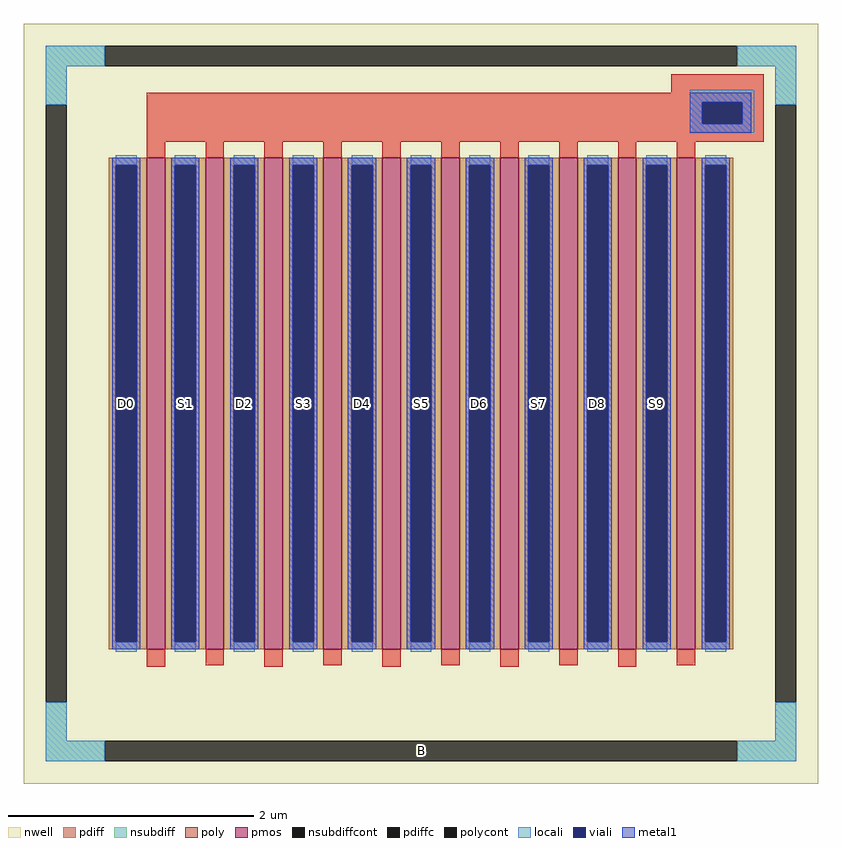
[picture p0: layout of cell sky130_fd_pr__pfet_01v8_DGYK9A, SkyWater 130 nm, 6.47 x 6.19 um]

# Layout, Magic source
magic
tech sky130A
magscale 1 2
<< nwell >>
rect -647 -619 647 619
<< pmos >>
rect -447 -400 -417 400
rect -351 -400 -321 400
rect -255 -400 -225 400
rect -159 -400 -129 400
rect -63 -400 -33 400
rect 33 -400 63 400
rect 129 -400 159 400
rect 225 -400 255 400
rect 321 -400 351 400
rect 417 -400 447 400
<< pdiff >>
rect -509 388 -447 400
rect -509 -388 -497 388
rect -463 -388 -447 388
rect -509 -400 -447 -388
rect -417 388 -351 400
rect -417 -388 -401 388
rect -367 -388 -351 388
rect -417 -400 -351 -388
rect -321 388 -255 400
rect -321 -388 -305 388
rect -271 -388 -255 388
rect -321 -400 -255 -388
rect -225 388 -159 400
rect -225 -388 -209 388
rect -175 -388 -159 388
rect -225 -400 -159 -388
rect -129 388 -63 400
rect -129 -388 -113 388
rect -79 -388 -63 388
rect -129 -400 -63 -388
rect -33 388 33 400
rect -33 -388 -17 388
rect 17 -388 33 388
rect -33 -400 33 -388
rect 63 388 129 400
rect 63 -388 79 388
rect 113 -388 129 388
rect 63 -400 129 -388
rect 159 388 225 400
rect 159 -388 175 388
rect 209 -388 225 388
rect 159 -400 225 -388
rect 255 388 321 400
rect 255 -388 271 388
rect 305 -388 321 388
rect 255 -400 321 -388
rect 351 388 417 400
rect 351 -388 367 388
rect 401 -388 417 388
rect 351 -400 417 -388
rect 447 388 509 400
rect 447 -388 463 388
rect 497 -388 509 388
rect 447 -400 509 -388
<< pdiffc >>
rect -497 -388 -463 388
rect -401 -388 -367 388
rect -305 -388 -271 388
rect -209 -388 -175 388
rect -113 -388 -79 388
rect -17 -388 17 388
rect 79 -388 113 388
rect 175 -388 209 388
rect 271 -388 305 388
rect 367 -388 401 388
rect 463 -388 497 388
<< nsubdiff >>
rect -611 549 -515 583
rect 515 549 611 583
rect -611 487 -577 549
rect 577 487 611 549
rect -611 -549 -577 -487
rect 577 -549 611 -487
rect -611 -583 -515 -549
rect 515 -583 611 -549
<< nsubdiffcont >>
rect -515 549 515 583
rect -611 -487 -577 487
rect 577 -487 611 487
rect -515 -583 515 -549
<< poly >>
rect 408 506 558 536
rect -447 491 558 506
rect -447 456 458 491
rect 523 456 558 491
rect -447 426 558 456
rect -447 400 -417 426
rect -351 400 -321 426
rect -255 400 -225 426
rect -159 400 -129 426
rect -63 400 -33 426
rect 33 400 63 426
rect 129 400 159 426
rect 225 400 255 426
rect 321 400 351 426
rect 417 400 447 426
rect -447 -429 -417 -400
rect -351 -426 -321 -400
rect -255 -429 -225 -400
rect -159 -426 -129 -400
rect -63 -429 -33 -400
rect 33 -426 63 -400
rect 129 -429 159 -400
rect 225 -426 255 -400
rect 321 -429 351 -400
rect 417 -426 447 -400
<< polycont >>
rect 458 456 523 491
<< locali >>
rect -611 549 -515 583
rect 515 549 611 583
rect -611 487 -577 549
rect 438 491 543 511
rect 438 456 458 491
rect 523 456 543 491
rect 438 441 543 456
rect 577 487 611 549
rect -497 388 -463 404
rect -497 -404 -463 -388
rect -401 388 -367 404
rect -401 -404 -367 -388
rect -305 388 -271 404
rect -305 -404 -271 -388
rect -209 388 -175 404
rect -209 -404 -175 -388
rect -113 388 -79 404
rect -113 -404 -79 -388
rect -17 388 17 404
rect -17 -404 17 -388
rect 79 388 113 404
rect 79 -404 113 -388
rect 175 388 209 404
rect 175 -404 209 -388
rect 271 388 305 404
rect 271 -404 305 -388
rect 367 388 401 404
rect 367 -404 401 -388
rect 463 388 497 404
rect 463 -404 497 -388
rect -611 -549 -577 -487
rect 577 -549 611 -487
rect -611 -583 -515 -549
rect 515 -583 611 -549
<< viali >>
rect 458 456 523 491
rect -497 -388 -463 388
rect -401 -388 -367 388
rect -305 -388 -271 388
rect -209 -388 -175 388
rect -113 -388 -79 388
rect -17 -388 17 388
rect 79 -388 113 388
rect 175 -388 209 388
rect 271 -388 305 388
rect 367 -388 401 388
rect 463 -388 497 388
<< metal1 >>
rect 438 491 538 506
rect 438 456 458 491
rect 523 456 538 491
rect 438 441 538 456
rect -503 388 -457 400
rect -503 -388 -497 388
rect -463 -388 -457 388
rect -503 -400 -457 -388
rect -407 388 -361 400
rect -407 -388 -401 388
rect -367 -388 -361 388
rect -407 -400 -361 -388
rect -311 388 -265 400
rect -311 -388 -305 388
rect -271 -388 -265 388
rect -311 -400 -265 -388
rect -215 388 -169 400
rect -215 -388 -209 388
rect -175 -388 -169 388
rect -215 -400 -169 -388
rect -119 388 -73 400
rect -119 -388 -113 388
rect -79 -388 -73 388
rect -119 -400 -73 -388
rect -23 388 23 400
rect -23 -388 -17 388
rect 17 -388 23 388
rect -23 -400 23 -388
rect 73 388 119 400
rect 73 -388 79 388
rect 113 -388 119 388
rect 73 -400 119 -388
rect 169 388 215 400
rect 169 -388 175 388
rect 209 -388 215 388
rect 169 -400 215 -388
rect 265 388 311 400
rect 265 -388 271 388
rect 305 -388 311 388
rect 265 -400 311 -388
rect 361 388 407 400
rect 361 -388 367 388
rect 401 -388 407 388
rect 361 -400 407 -388
rect 457 388 503 400
rect 457 -388 463 388
rect 497 -388 503 388
rect 457 -400 503 -388
<< labels >>
rlabel nsubdiffcont 0 -566 0 -566 0 B
port 1 nsew
rlabel pdiffc -480 0 -480 0 0 D0
port 2 nsew
rlabel pdiffc -384 0 -384 0 0 S1
port 4 nsew
rlabel pdiffc -288 0 -288 0 0 D2
port 6 nsew
rlabel pdiffc -192 0 -192 0 0 S3
port 8 nsew
rlabel pdiffc -96 0 -96 0 0 D4
port 10 nsew
rlabel pdiffc 0 0 0 0 0 S5
port 12 nsew
rlabel pdiffc 96 0 96 0 0 D6
port 14 nsew
rlabel pdiffc 192 0 192 0 0 S7
port 16 nsew
rlabel pdiffc 288 0 288 0 0 D8
port 18 nsew
rlabel pdiffc 384 0 384 0 0 S9
port 20 nsew
<< properties >>
string FIXED_BBOX -594 -566 594 566
string gencell sky130_fd_pr__pfet_01v8
string library sky130
string parameters w 4.0 l 0.15 m 1 nf 10 diffcov 100 polycov 100 guard 1 glc 1 grc 1 gtc 1 gbc 1 tbcov 100 rlcov 100 topc 1 botc 1 poverlap 0 doverlap 1 lmin 0.15 wmin 0.42 class mosfet compatible {sky130_fd_pr__pfet_01v8  sky130_fd_pr__pfet_01v8_lvt sky130_fd_pr__pfet_01v8_hvt  sky130_fd_pr__pfet_g5v0d10v5} full_metal 1 conn_gates 0 viasrc 100 viadrn 100 viagate 100 viagb 0 viagr 0 viagl 0 viagt 0 doports 1
<< end >>
